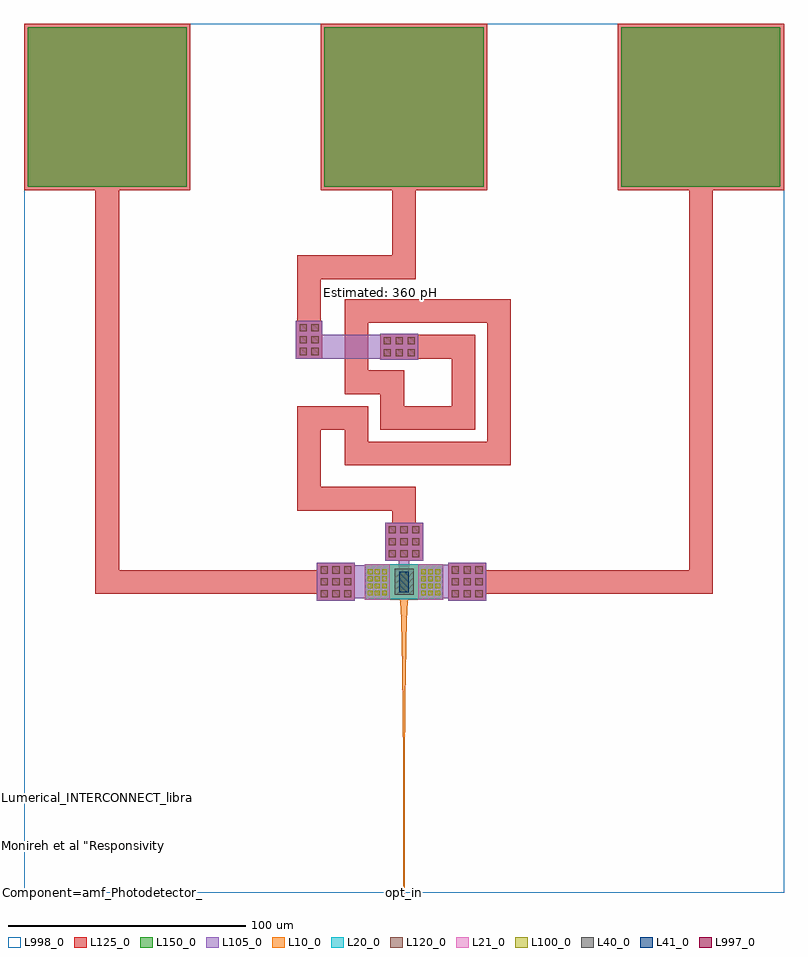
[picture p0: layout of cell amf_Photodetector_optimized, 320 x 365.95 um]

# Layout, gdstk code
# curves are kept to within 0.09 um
import gdstk
lib = gdstk.Library(unit=1e-6, precision=1e-09)
def R(c, l, rs):  # rectangles x0, y0, x1, y1
    for r in rs: c.add(gdstk.rectangle(r[:2], r[2:], *l))
def A(c, l, x, y, w, h, nx, ny, dx, dy):  # array of equal rectangles
    R(c, l, [(x+i*dx, y+j*dy, x+i*dx+w, y+j*dy+h) for i in range(nx) for j in range(ny)])
def P(c, l, *ps):  # polygons
    for p in ps: c.add(gdstk.Polygon(p, *l))
L10_0 = (10, 0)
L20_0 = (20, 0)
L21_0 = (21, 0)
L40_0 = (40, 0)
L41_0 = (41, 0)
L100_0 = (100, 0)
L105_0 = (105, 0)
L120_0 = (120, 0)
L125_0 = (125, 0)
L150_0 = (150, 0)
L997_0 = (997, 0)
L998_0 = (998, 0)

amf_photodetector_optimi = lib.new_cell('amf_Photodetector_optimized')
R(amf_photodetector_optimi, L10_0, [(-16.5,123.5,16.5,138.5)])
P(amf_photodetector_optimi, L10_0, [(-0.25,0),(-0.377,60.865),(0.378,60.865),(0.3,48.89),(0.298,3.098),(0.25,0)],
  [(-0.377,60.865),(-0.949,105.627),(-1.351,118.796),(-1.571,122.293),(-1.8,123.5),(1.8,123.5),(1.6,122.581),(1.388,119.566),(0.991,107.484),(0.378,60.865)])
R(amf_photodetector_optimi, L20_0, [(-16.25,123.7,16.25,138.3), (-2,126.7,2,135.3)])
R(amf_photodetector_optimi, L21_0, [(-16.5,123.5,-6,138.5), (6,123.5,16.5,138.5)])
R(amf_photodetector_optimi, L40_0, [(-4,125.5,4,136.5)])
R(amf_photodetector_optimi, L41_0, [(-2,126.7,2,135.3)])
A(amf_photodetector_optimi, L100_0, -15.25, 125.25, 2, 2, 3, 4, 3, 3)
A(amf_photodetector_optimi, L100_0, 7.2, 125.25, 2, 2, 3, 4, 3, 3)
R(amf_photodetector_optimi, L100_0, [(-1.8,126.9,1.8,135.1)])
A(amf_photodetector_optimi, L105_0, -36.65, 123, 6, 6, 3, 3, 5, 5)
A(amf_photodetector_optimi, L105_0, 18.6, 123, 6, 6, 3, 3, 5, 5)
A(amf_photodetector_optimi, L105_0, -15.85, 124.65, 3.2, 3.2, 3, 4, 3, 3)
A(amf_photodetector_optimi, L105_0, 6.6, 124.65, 3.2, 3.2, 3, 4, 3, 3)
A(amf_photodetector_optimi, L105_0, -8, 139.85, 6, 6, 3, 3, 5, 5)
A(amf_photodetector_optimi, L105_0, -10, 224.5, 6, 6, 3, 2, 5, 5)
A(amf_photodetector_optimi, L105_0, -45.5, 225, 6, 6, 1, 3, 0, 5)
A(amf_photodetector_optimi, L105_0, -40.5, 225, 6, 6, 1, 3, 0, 5)
R(amf_photodetector_optimi, L105_0, [(-32.1,124,-6,138), (6,124.1,32.1,138.1), (-2.3,126.4,2.3,143), (-45,225,0,235)])
A(amf_photodetector_optimi, L120_0, -35.15, 124.5, 3, 3, 3, 3, 5, 5)
A(amf_photodetector_optimi, L120_0, 20.1, 124.5, 3, 3, 3, 3, 5, 5)
A(amf_photodetector_optimi, L120_0, -6.5, 141.35, 3, 3, 3, 3, 5, 5)
A(amf_photodetector_optimi, L120_0, -8.5, 226, 3, 3, 3, 2, 5, 5)
A(amf_photodetector_optimi, L120_0, -44, 226.5, 3, 3, 1, 3, 0, 5)
A(amf_photodetector_optimi, L120_0, -39, 226.5, 3, 3, 1, 3, 0, 5)
A(amf_photodetector_optimi, L125_0, -36.65, 123, 6, 6, 3, 3, 5, 5)
A(amf_photodetector_optimi, L125_0, 18.6, 123, 6, 6, 3, 3, 5, 5)
A(amf_photodetector_optimi, L125_0, -8, 139.85, 6, 6, 3, 3, 5, 5)
A(amf_photodetector_optimi, L125_0, -10, 224.5, 6, 6, 3, 2, 5, 5)
A(amf_photodetector_optimi, L125_0, -45.5, 225, 6, 6, 1, 3, 0, 5)
A(amf_photodetector_optimi, L125_0, -40.5, 225, 6, 6, 1, 3, 0, 5)
A(amf_photodetector_optimi, L125_0, -160, 295.9, 70, 70, 3, 1, 125, 0)
A(amf_photodetector_optimi, L125_0, -127.5, 295.9, 5, 5, 3, 1, 125, 0)
P(amf_photodetector_optimi, L125_0, [(22,125.9),(22,135.9),(120,135.9),(120,300.9),(130,300.9),(130,125.9)],
  [(-130,125.9),(-130,300.9),(-120,300.9),(-120,135.9),(-22,135.9),(-22,125.9)],
  [(-45,225),(-45,268.5),(-5,268.5),(-5,298.5),(5,298.5),(5,258.5),(-35,258.5),(-35,225)],
  [(-5,141),(-5,161),(-45,161),(-45,205),(-15,205),(-15,190),(35,190),(35,240),(-15,240),(-15,220),(0,220),(0,205),(20,205),(20,225),(-10,225),(-10,235),(30,235),(30,195),(-10,195),(-10,210),(-25,210),(-25,250),(45,250),(45,180),(-25,180),(-25,195),(-35,195),(-35,171),(5,171),(5,141)])
A(amf_photodetector_optimi, L150_0, -158.5, 297.4, 67, 67, 3, 1, 125, 0)
R(amf_photodetector_optimi, L998_0, [(-160,0,160,365.9)])
amf_photodetector_optimi.add(gdstk.FlexPath([(0,0.05),(0,-0.05)], 0.5, ends="flush", simple_path=True, layer=997, datatype=0))  # L997_0
amf_photodetector_optimi.add(gdstk.Label('Monireh et al "Responsivity optimization of a high-speed germanium-on-silicon photodetector" Optics Express,2016', (-159,20), layer=1003, texttype=0))
amf_photodetector_optimi.add(gdstk.Label('Estimated: 360 pH ', (-8.878,252.681), layer=1003, texttype=0))
amf_photodetector_optimi.add(gdstk.Label('ref.: oe-21-23-28387', (-8.962,254.208), layer=1003, texttype=0))
amf_photodetector_optimi.add(gdstk.Label('Lumerical_INTERCONNECT_library=Design kits/SiEPIC_AMF', (-159,40), layer=998, texttype=0))
amf_photodetector_optimi.add(gdstk.Label('Component=amf_Photodetector_optimized', (-159,0), layer=998, texttype=0))
amf_photodetector_optimi.add(gdstk.Label('opt_in', (0,0), layer=997, texttype=0))

lib.write_gds('amf_Photodetector_optimized.gds')
